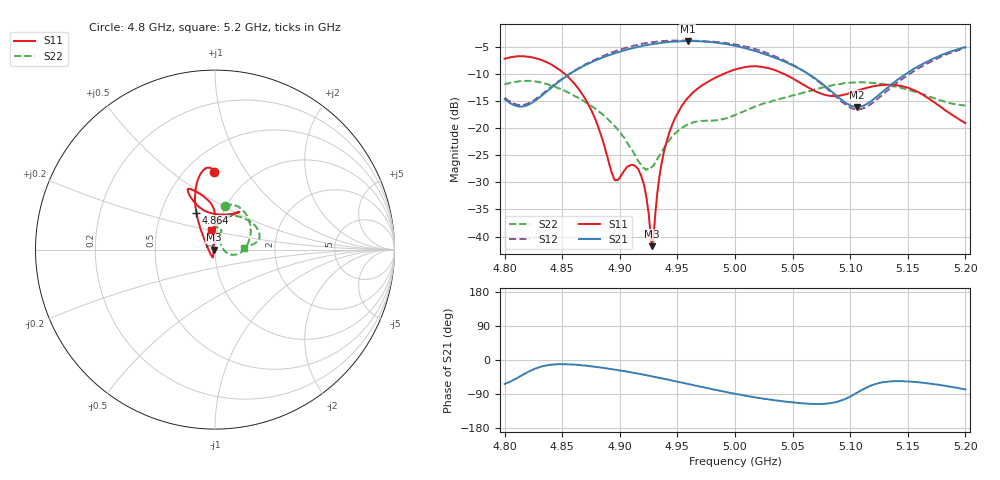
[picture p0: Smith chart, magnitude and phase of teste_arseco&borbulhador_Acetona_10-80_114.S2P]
! Network Analyzer HP8722D
! Hewlett-Packard
! Data name: Linha & Wilkinson
! Saver's name: Rodrigo Anjos
! Comments: Teste da utilização de aquisição
! continua pelo VNA HP8722D
! Time and date: 25/4/2025 16:13
!  Frequency  S11  S21  S12  S22
# HZ  S  MA R 50
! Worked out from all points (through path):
!   401 points, 4.8 GHz to 5.2 GHz, reference 50 ohm
!   highest |S21| = -3.97 dB at 4.959 GHz (marker M1); lowest = -16.1 dB at 5.106 GHz (marker M2)
!   lowest |S11| = -41.8 dB at 4.928 GHz (marker M3), VSWR 1.02, Z = 49.2 - j0.0448 ohm
!   |S11| at or under -10 dB: 4.852 GHz to 4.991 GHz (138.6 MHz wide, 2.82 % of centre); 5.042 GHz to end of sweep
!   |S22| runs from -27.7 to -11.3 dB; largest |S21 - S12| = 1.2
!   S11 on the Smith chart (normalised r, x): 4.8 GHz: 0.68, +0.73; 4.864 GHz: 0.75, +0.33; 5.2 GHz: 0.94, +0.21
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4.8e9  0.4344 90.6  0.1847 -63.3  0.1898 70.0  0.2494 76.6
4.82e9  0.4531 96.8  0.1625 -31.9  0.1678 98.9  0.2728 61.4
4.844e9  0.3653 106.8  0.2516 -11.7  0.255 119.1  0.2398 35.0
4.864e9  0.2307 116.7  0.3512 -13.0  0.3541 120.8  0.1889 11.7
4.867e9  0.2079 118.5  0.365 -13.9  0.3694 120.6  0.1821 8.2
4.88e9  0.1108 129.0  0.4242 -18.5  0.4346 118.1  0.1473 -5.7
4.895e9  0.03387 -173.0  0.4859 -25.1  0.5038 113.7  0.1056 -16.0
4.909e9  0.0454 -108.5  0.5371 -32.1  0.5624 107.5  0.0661 -14.3
4.917e9  0.03938 -105.1  0.5627 -36.6  0.5905 103.3  0.04778 -0.7
4.922e9  0.02654 -109.3  0.5777 -39.4  0.6046 100.6  0.04203 17.0
4.928e9  0.008162 -176.8  0.5927 -43.2  0.6175 96.8  0.04408 41.8
4.93e9  0.01253 127.9  0.5961 -44.3  0.6198 95.5  0.04656 49.3
4.934e9  0.03331 100.7  0.6041 -47.0  0.628 93.0  0.05502 58.5
4.944e9  0.09695 90.9  0.6222 -53.2  0.6361 86.6  0.07993 69.7
4.959e9  0.1894 89.5  0.6328 -63.1  0.6392 77.1  0.1079 71.2
5e9  0.3458 109.1  0.5708 -89.3  0.591 50.6  0.1316 88.5
5.03e9  0.3532 115.1  0.4619 -104.3  0.4795 33.7  0.1741 85.1
5.067e9  0.2251 105.3  0.2991 -115.8  0.2962 23.6  0.2223 56.8
5.106e9  0.2199 64.5  0.1565 -86.3  0.1486 56.7  0.2627 24.6
5.134e9  0.2503 57.1  0.2432 -56.7  0.2286 88.8  0.2474 12.2
5.168e9  0.188 69.2  0.415 -62.0  0.3984 85.0  0.1954 6.9
5.2e9  0.1111 100.9  0.5567 -77.8  0.5453 70.0  0.1614 3.6
